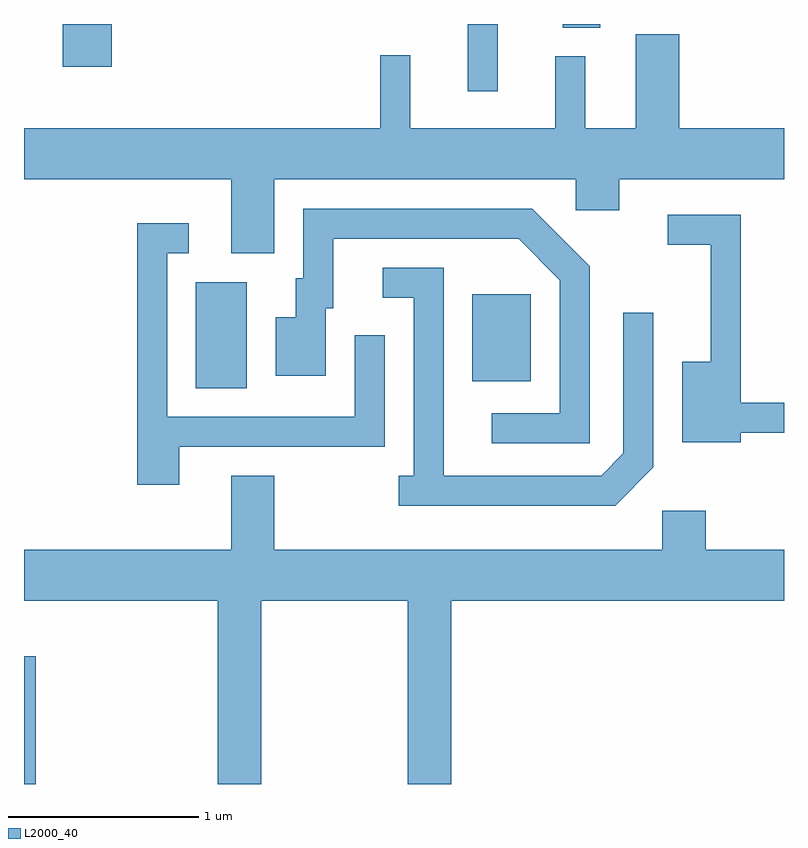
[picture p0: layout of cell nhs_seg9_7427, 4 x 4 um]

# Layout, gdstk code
import gdstk
lib = gdstk.Library(unit=1e-6, precision=1e-09)
def R(c, l, rs):  # rectangles x0, y0, x1, y1
    for r in rs: c.add(gdstk.rectangle(r[:2], r[2:], *l))
def P(c, l, *ps):  # polygons
    for p in ps: c.add(gdstk.Polygon(p, *l))
L2000_40 = (2000, 40)

nhs_seg9_7427 = lib.new_cell('nhs_seg9_7427')
R(nhs_seg9_7427, L2000_40, [(405.611,1966.432,405.674,1967.104), (406.516,1968.516,406.784,1969.074), (407.971,1968.551,408.279,1969.009), (407.946,1970.078,408.104,1970.432), (405.816,1970.206,406.074,1970.432), (408.446,1970.411,408.644,1970.432)])
P(nhs_seg9_7427, L2000_40, [(406.929,1969.616),(408.516,1969.616),(408.516,1969.451),(408.744,1969.451),(408.744,1969.616),(409.611,1969.616),(409.611,1969.884),(409.059,1969.884),(409.059,1970.379),(408.831,1970.379),(408.831,1969.884),(408.564,1969.884),(408.564,1970.263),(408.406,1970.263),(408.406,1969.884),(407.644,1969.884),(407.644,1970.268),(407.486,1970.268),(407.486,1969.884),(405.611,1969.884),(405.611,1969.616),(406.701,1969.616),(406.701,1969.226),(406.929,1969.226)],
  [(408.589,1969.157),(408.287,1969.459),(407.081,1969.459),(407.081,1969.094),(407.041,1969.094),(407.041,1968.889),(406.936,1968.889),(406.936,1968.581),(407.199,1968.581),(407.199,1968.936),(407.239,1968.936),(407.239,1969.301),(408.214,1969.301),(408.431,1969.084),(408.431,1968.384),(408.073,1968.384),(408.073,1968.226),(408.589,1968.226)],
  [(409.384,1968.281),(409.611,1968.281),(409.611,1968.439),(409.384,1968.439),(409.384,1969.429),(408.998,1969.429),(408.998,1969.271),(409.226,1969.271),(409.226,1968.654),(409.076,1968.654),(409.076,1968.231),(409.384,1968.231)],
  [(406.429,1968.206),(407.509,1968.206),(407.509,1968.793),(407.351,1968.793),(407.351,1968.364),(406.364,1968.364),(406.364,1969.226),(406.478,1969.226),(406.478,1969.384),(406.206,1969.384),(406.206,1968.006),(406.429,1968.006)],
  [(408.924,1968.099),(408.924,1968.913),(408.766,1968.913),(408.766,1968.172),(408.649,1968.054),(407.819,1968.054),(407.819,1969.149),(407.498,1969.149),(407.498,1968.991),(407.661,1968.991),(407.661,1968.054),(407.583,1968.054),(407.583,1967.896),(408.722,1967.896)],
  [(406.859,1967.396),(407.631,1967.396),(407.631,1966.432),(407.859,1966.432),(407.859,1967.396),(409.611,1967.396),(409.611,1967.664),(409.199,1967.664),(409.199,1967.869),(408.971,1967.869),(408.971,1967.664),(406.929,1967.664),(406.929,1968.054),(406.701,1968.054),(406.701,1967.664),(405.611,1967.664),(405.611,1967.396),(406.631,1967.396),(406.631,1966.432),(406.859,1966.432)])

lib.write_gds('nhs_seg9_7427.gds')
